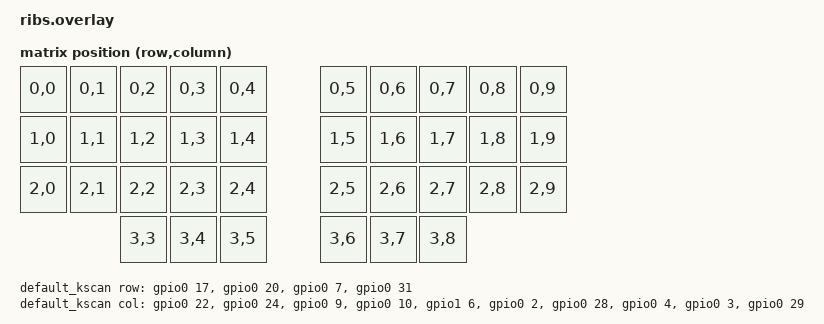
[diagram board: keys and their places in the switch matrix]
#include <dt-bindings/zmk/matrix_transform.h>

/ {
    chosen {
        zmk,kscan = &default_kscan;
        zmk,matrix_transform = &transform;
    };

    default_kscan: kscan {
        compatible = "zmk,kscan-gpio-matrix";
        label = "default_kscan";
        diode-direction = "col2row";

        row-gpios = <&gpio0 17 GPIO_ACTIVE_LOW>,   /* D2  -> GPIO 17 */
                    <&gpio0 20 GPIO_ACTIVE_LOW>,   /* D3  -> GPIO 20 */
                    <&gpio0 7 GPIO_ACTIVE_LOW>,    /* D9  -> GPIO 7  */
                    <&gpio0 31 GPIO_ACTIVE_LOW>;   /* A4  -> GPIO 31 */

        col-gpios = <&gpio0 22 GPIO_ACTIVE_LOW>,   /* D4  -> GPIO 22 */
                    <&gpio0 24 GPIO_ACTIVE_LOW>,   /* D5  -> GPIO 24 */
                    <&gpio0 9 GPIO_ACTIVE_LOW>,    /* D6  -> GPIO 9  */
                    <&gpio0 10 GPIO_ACTIVE_LOW>,   /* D7  -> GPIO 10 */
                    <&gpio1 6 GPIO_ACTIVE_LOW>,    /* D8  -> GPIO 38 (port 1, pin 6) */
                    <&gpio0 2 GPIO_ACTIVE_LOW>,    /* A5  -> GPIO 2  */
                    <&gpio0 28 GPIO_ACTIVE_LOW>,   /* A1  -> GPIO 28 */
                    <&gpio0 4 GPIO_ACTIVE_LOW>,    /* A2  -> GPIO 4  */
                    <&gpio0 3 GPIO_ACTIVE_LOW>,    /* A0  -> GPIO 3  */
                    <&gpio0 29 GPIO_ACTIVE_LOW>;   /* A3  -> GPIO 29 */
    };

    transform: matrix_transform {
        compatible = "zmk,matrix-transform";
        rows = <4>;
        columns = <10>;

        map = <
            RC(0, 0) RC(0, 1) RC(0, 2) RC(0, 3) RC(0, 4) RC(0, 5) RC(0, 6) RC(0, 7) RC(0, 8) RC(0, 9)
            RC(1, 0) RC(1, 1) RC(1, 2) RC(1, 3) RC(1, 4) RC(1, 5) RC(1, 6) RC(1, 7) RC(1, 8) RC(1, 9)
            RC(2, 0) RC(2, 1) RC(2, 2) RC(2, 3) RC(2, 4) RC(2, 5) RC(2, 6) RC(2, 7) RC(2, 8) RC(2, 9)
                      RC(3, 3) RC(3, 4) RC(3, 5) RC(3, 6) RC(3, 7) RC(3, 8)
        >;
    };
};
